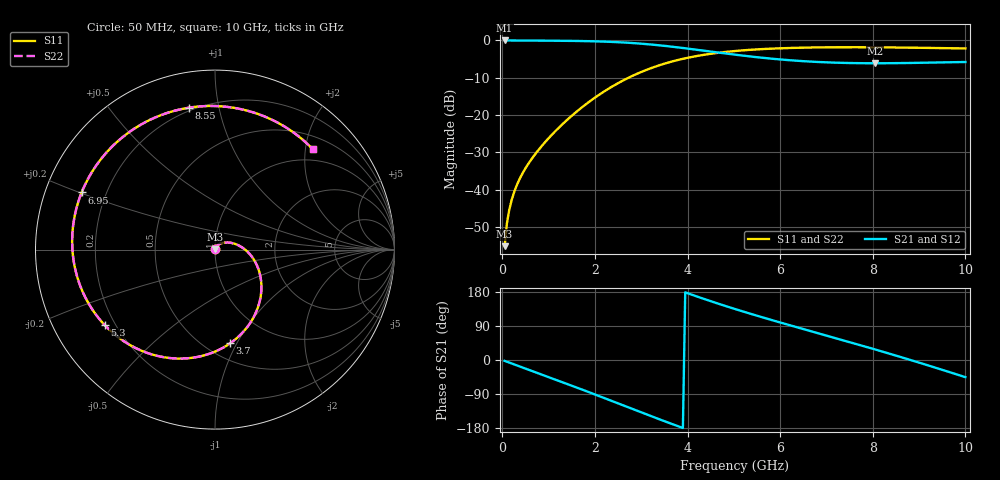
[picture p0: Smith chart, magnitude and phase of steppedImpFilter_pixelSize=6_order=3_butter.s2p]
! freq	dB(S11)	phase(S11)	dB(S12)	phase(S12)
!  dB(S21)	phase(S21)	dB(S22)	phase(S22)
!S-par simulation data
#  GHz  S  DB  R 50
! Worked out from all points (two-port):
!   200 points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, 50 MHz to 10 GHz, reference 50 ohm
!   highest |S21| = 0.00 dB at 50 MHz (marker M1); lowest = -6.1 dB at 8.05 GHz (marker M2)
!   |S21| within 3 dB of the highest: start of sweep to 4.512 GHz
!   lowest |S11| = -55.2 dB at 50 MHz (marker M3), VSWR 1.00, Z = 50.1 + j0.166 ohm
!   |S11| at or under -10 dB: start of sweep to 2.727 GHz
!   |S22| runs from -55.2 to -1.8 dB; largest |S21 - S12| = 0
!   S11 on the Smith chart (normalised r, x): 50 MHz: 1.00, +0.00; 3.7 GHz: 0.65, -0.94; 5.3 GHz: 0.16, -0.30; 6.95 GHz: 0.11, +0.20; 8.55 GHz: 0.18, +0.81; 10 GHz: 0.76, +2.16
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0.05  -55.19 72.9  -0.00 -2.3  -0.00 -2.3  -55.18 72.9
0.1  -49.04 78.3  -0.01 -4.5  -0.01 -4.5  -49.04 78.3
0.2  -42.90 78.0  -0.02 -9.0  -0.02 -9.0  -42.91 78.0
0.45  -35.37 69.4  -0.03 -20.2  -0.03 -20.2  -35.37 69.3
1.15  -24.28 38.7  -0.07 -51.7  -0.07 -51.7  -24.28 38.6
1.75  -17.64 10.9  -0.17 -79.2  -0.17 -79.2  -17.64 10.9
2.1  -14.49 -5.6  -0.27 -95.6  -0.27 -95.6  -14.49 -5.6
2.5  -11.46 -24.6  -0.47 -114.5  -0.47 -114.5  -11.46 -24.7
2.95  -8.72 -46.1  -0.82 -135.8  -0.82 -135.8  -8.72 -46.1
3.4  -6.62 -67.2  -1.32 -156.8  -1.32 -156.8  -6.62 -67.2
3.7  -5.53 -80.8  -1.73 -170.5  -1.73 -170.5  -5.53 -80.9
4.35  -3.86 -108.8  -2.74 161.4  -2.74 161.4  -3.86 -108.8
5.05  -2.81 -136.4  -3.85 133.6  -3.85 133.6  -2.81 -136.4
5.3  -2.56 -145.7  -4.22 124.2  -4.22 124.2  -2.56 -145.7
6  -2.11 -170.6  -5.10 99.0  -5.10 99.0  -2.11 -170.6
6.7  -1.89 165.3  -5.70 74.8  -5.70 74.8  -1.89 165.4
6.95  -1.85 156.8  -5.85 66.2  -5.85 66.2  -1.85 156.9
8.05  -1.84 118.6  -6.12 27.9  -6.12 27.9  -1.84 118.7
8.35  -1.87 107.8  -6.11 17.1  -6.11 17.1  -1.87 107.9
8.55  -1.90 100.5  -6.09 9.8  -6.09 9.8  -1.90 100.6
9.25  -2.01 74.4  -5.95 -16.3  -5.95 -16.3  -2.01 74.6
10  -2.15 45.6  -5.78 -45.3  -5.78 -45.3  -2.15 45.8
